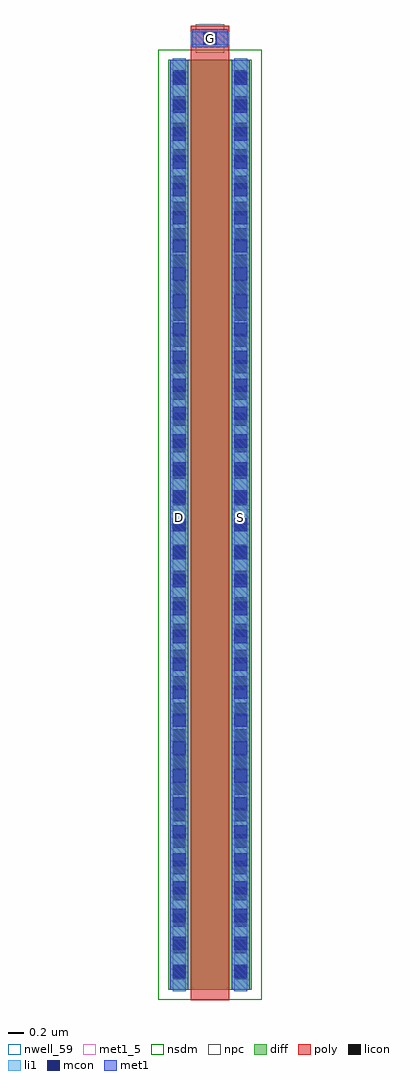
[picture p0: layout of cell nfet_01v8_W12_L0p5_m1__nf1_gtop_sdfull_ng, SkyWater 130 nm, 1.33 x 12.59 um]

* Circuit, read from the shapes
.subckt nfet_01v8_W12_L0p5_m1__nf1_gtop_sdfull_ng B D G S
XM1 S G D B sky130_fd_pr__nfet_01v8 w=12 l=0.5
.ends

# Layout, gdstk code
import gdstk
lib = gdstk.Library(unit=1e-6, precision=1e-09)
def R(c, l, rs):  # rectangles x0, y0, x1, y1
    for r in rs: c.add(gdstk.rectangle(r[:2], r[2:], *l))
def A(c, l, x, y, w, h, nx, ny, dx, dy):  # array of equal rectangles
    R(c, l, [(x+i*dx, y+j*dy, x+i*dx+w, y+j*dy+h) for i in range(nx) for j in range(ny)])
nwell_59 = (64, 59)
diff = (65, 20)
poly = (66, 20)
licon = (66, 44)
li1 = (67, 20)
mcon = (67, 44)
met1_5 = (68, 5)
met1 = (68, 20)
nsdm = (93, 44)
npc = (95, 20)

sky130_fd_pr__nfet_01v8_ = lib.new_cell('sky130_fd_pr__nfet_01v8_P7JZK5')
R(sky130_fd_pr__nfet_01v8_, diff, [(-0.54,-6.155,0.54,5.845)])
R(sky130_fd_pr__nfet_01v8_, poly, [(-0.25,-6.285,0.25,6.285)])
A(sky130_fd_pr__nfet_01v8_, licon, -0.48, -6.02, 0.17, 0.17, 1, 35, 0, 0.34)
A(sky130_fd_pr__nfet_01v8_, licon, 0.31, -6.02, 0.17, 0.17, 1, 35, 0, 0.34)
R(sky130_fd_pr__nfet_01v8_, licon, [(-0.085,6.035,0.085,6.205)])
R(sky130_fd_pr__nfet_01v8_, li1, [(-0.48,-6.175,-0.31,5.865), (0.31,-6.175,0.48,5.865), (-0.25,6.035,0.25,6.205)])
A(sky130_fd_pr__nfet_01v8_, mcon, -0.48, -6, 0.17, 0.17, 1, 33, 0, 0.36)
A(sky130_fd_pr__nfet_01v8_, mcon, 0.31, -6, 0.17, 0.17, 1, 33, 0, 0.36)
R(sky130_fd_pr__nfet_01v8_, mcon, [(-0.085,6.035,0.085,6.205)])
R(sky130_fd_pr__nfet_01v8_, met1, [(-0.51,-6.155,-0.28,5.845), (0.28,-6.155,0.51,5.845), (-0.23,6.005,0.23,6.235)])
R(sky130_fd_pr__nfet_01v8_, nsdm, [(-0.665,-6.28,0.665,5.97)])
R(sky130_fd_pr__nfet_01v8_, npc, [(-0.185,5.935,0.185,6.305)])
sky130_fd_pr__nfet_01v8_.add(gdstk.Label('D', (-0.395,-0.155), layer=67, texttype=5))
sky130_fd_pr__nfet_01v8_.add(gdstk.Label('S', (0.395,-0.155), layer=67, texttype=5))
sky130_fd_pr__nfet_01v8_.add(gdstk.Label('G', (0,6.12), layer=67, texttype=5))

nfet_01v8_w12_l0p5_m1__n = lib.new_cell('nfet_01v8_W12_L0p5_m1__nf1_gtop_sdfull_ng')
R(nfet_01v8_w12_l0p5_m1__n, nwell_59, [(0.05,6.08,0.15,6.18)])
R(nfet_01v8_w12_l0p5_m1__n, met1_5, [(0.03,6.13,0.26,6.33), (0.82,6.13,1.05,6.33), (0.31,12.29,0.77,12.52)])
R(nfet_01v8_w12_l0p5_m1__n, met1, [(0.03,6.13,0.26,6.33), (0.82,6.13,1.05,6.33), (0.31,12.29,0.77,12.52)])
nfet_01v8_w12_l0p5_m1__n.add(gdstk.Reference(sky130_fd_pr__nfet_01v8_, (0.54,6.285)))
nfet_01v8_w12_l0p5_m1__n.add(gdstk.Label('D', (0.145,6.23), layer=68, texttype=5))
nfet_01v8_w12_l0p5_m1__n.add(gdstk.Label('S', (0.935,6.23), layer=68, texttype=5))
nfet_01v8_w12_l0p5_m1__n.add(gdstk.Label('G', (0.54,12.405), layer=68, texttype=5))
nfet_01v8_w12_l0p5_m1__n.add(gdstk.Label('B', (0.1,6.13), layer=64, texttype=59))

lib.write_gds('nfet_01v8_W12_L0p5_m1__nf1_gtop_sdfull_ng.gds')
